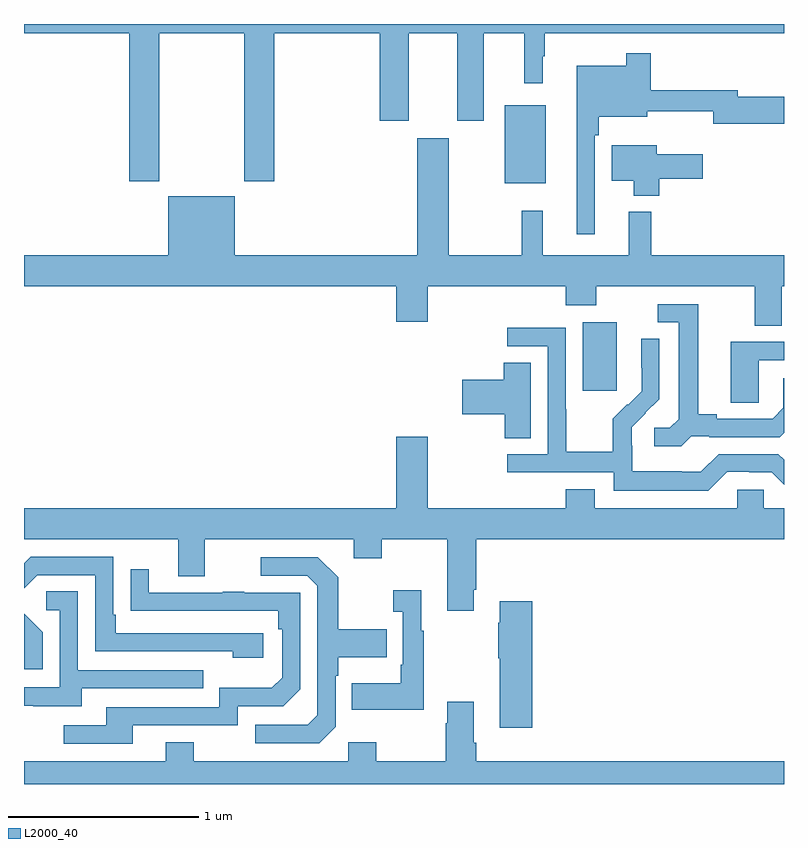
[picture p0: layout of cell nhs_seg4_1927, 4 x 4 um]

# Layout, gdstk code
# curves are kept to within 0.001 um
import gdstk
lib = gdstk.Library(unit=1e-6, precision=1e-09)
def R(c, l, rs):  # rectangles x0, y0, x1, y1
    for r in rs: c.add(gdstk.rectangle(r[:2], r[2:], *l))
def P(c, l, *ps):  # polygons
    for p in ps: c.add(gdstk.Polygon(p, *l))
L2000_40 = (2000, 40)

nhs_seg4_1927 = lib.new_cell('nhs_seg4_1927')
R(nhs_seg4_1927, L2000_40, [(213.941,762.969,214.12,763.33), (213.53,764.063,213.745,764.473)])
P(nhs_seg4_1927, L2000_40, [(211.713,764.852),(212.158,764.852),(212.158,764.073),(212.318,764.073),(212.318,764.852),(212.873,764.852),(212.873,764.391),(213.025,764.391),(213.025,764.852),(213.281,764.852),(213.281,764.391),(213.421,764.391),(213.421,764.852),(213.632,764.852),(213.632,764.589),(213.73,764.589),(213.73,764.729),(213.742,764.729),(213.742,764.852),(215,764.852),(215,764.9),(211,764.9),(211,764.852),(211.553,764.852),(211.553,764.073),(211.713,764.073)],
  [(214.005,764.315),(214.025,764.315),(214.025,764.411),(214.279,764.411),(214.279,764.44),(214.628,764.44),(214.628,764.375),(215,764.375),(215,764.517),(214.756,764.517),(214.756,764.551),(214.298,764.551),(214.298,764.746),(214.17,764.746),(214.17,764.68),(213.908,764.68),(213.908,763.794),(214.005,763.794)],
  [(214.987,763.52),(215,763.52),(215,763.684),(214.301,763.684),(214.301,763.912),(214.184,763.912),(214.184,763.684),(213.731,763.684),(213.731,763.918),(213.621,763.918),(213.621,763.684),(213.235,763.684),(213.235,764.299),(213.071,764.299),(213.071,763.684),(212.11,763.684),(212.11,763.993),(211.76,763.993),(211.76,763.684),(211,763.684),(211,763.52),(212.96,763.52),(212.96,763.332),(213.124,763.332),(213.124,763.52),(213.851,763.52),(213.851,763.421),(214.011,763.421),(214.011,763.52),(214.847,763.52),(214.847,763.312),(214.987,763.312)],
  [(214.343,764.086),(214.573,764.086),(214.573,764.215),(214.33,764.215),(214.33,764.263),(214.094,764.263),(214.094,764.075),(214.208,764.075),(214.208,763.997),(214.343,763.997)],
  [(214.512,762.729),(214.606,762.729),(214.606,762.726),(214.978,762.726),(215,762.748),(215,763.036),(214.997,763.036),(214.997,762.879),(214.94,762.822),(214.645,762.822),(214.645,762.845),(214.549,762.845),(214.549,763.425),(214.335,763.425),(214.335,763.329),(214.445,763.329),(214.445,762.821),(214.398,762.774),(214.317,762.774),(214.317,762.677),(214.46,762.677)],
  [(214.701,762.543),(214.817,762.543),(214.817,762.54),(214.935,762.54),(215,762.475),(215,762.607),(214.971,762.636),(214.656,762.636),(214.563,762.543),(214.463,762.543),(214.463,762.547),(214.2,762.547),(214.2,762.681),(214.198,762.681),(214.198,762.778),(214.344,762.926),(214.344,763.244),(214.248,763.244),(214.248,763.09),(214.25,763.09),(214.25,762.968),(214.179,762.897),(214.176,762.9),(214.099,762.823),(214.099,762.649),(213.855,762.649),(213.855,762.872),(213.852,762.872),(213.852,763.302),(213.543,763.302),(213.543,763.203),(213.756,763.203),(213.756,762.636),(213.543,762.636),(213.543,762.54),(214.104,762.54),(214.104,762.443),(214.601,762.443)],
  [(214.866,763.131),(215,763.131),(215,763.227),(214.721,763.227),(214.721,762.907),(214.866,762.907)],
  [(213.667,763.118),(213.524,763.118),(213.524,763.028),(213.306,763.028),(213.306,762.845),(213.529,762.845),(213.529,762.721),(213.667,762.721)],
  [(213.367,761.923),(213.38,761.923),(213.38,762.188),(215,762.188),(215,762.352),(214.893,762.352),(214.893,762.45),(214.755,762.45),(214.755,762.352),(214.003,762.352),(214.003,762.451),(213.851,762.451),(213.851,762.352),(213.124,762.352),(213.124,762.727),(212.96,762.727),(212.96,762.352),(211,762.352),(211,762.188),(211.811,762.188),(211.811,761.994),(211.951,761.994),(211.951,762.188),(212.735,762.188),(212.735,762.089),(212.883,762.089),(212.883,762.188),(213.227,762.188),(213.227,761.811),(213.367,761.811)],
  [(212.26,761.694),(211.483,761.694),(211.483,761.791),(211.47,761.791),(211.47,762.096),(211.035,762.096),(211,762.061),(211,761.929),(211.071,762),(211.374,762),(211.374,761.598),(212.099,761.598),(212.099,761.564),(212.26,761.564)],
  [(212.64,761.202),(212.64,761.471),(212.653,761.471),(212.653,761.567),(212.909,761.567),(212.909,761.715),(212.653,761.715),(212.653,761.987),(212.547,762.093),(212.247,762.093),(212.247,761.997),(212.49,761.997),(212.544,761.943),(212.544,761.262),(212.493,761.211),(212.217,761.211),(212.217,761.115),(212.553,761.115)],
  [(211.573,761.208),(212.124,761.208),(212.124,761.31),(212.364,761.31),(212.454,761.4),(212.454,761.907),(212.159,761.907),(212.159,761.912),(212.047,761.912),(212.047,761.907),(211.657,761.907),(211.657,762.031),(211.561,762.031),(211.561,761.812),(212.338,761.811),(212.338,761.714),(212.358,761.714),(212.358,761.46),(212.305,761.407),(212.028,761.407),(212.028,761.304),(211.433,761.304),(211.433,761.208),(211.209,761.208),(211.209,761.112),(211.573,761.112)],
  [(213.103,761.707),(213.091,761.707),(213.091,761.92),(212.943,761.92),(212.943,761.807),(212.994,761.807),(212.994,761.527),(212.982,761.527),(212.982,761.431),(212.725,761.431),(212.725,761.291),(213.103,761.291)],
  [(211.303,761.403),(211.943,761.403),(211.943,761.499),(211.284,761.499),(211.284,761.915),(211.116,761.915),(211.116,761.814),(211.188,761.814),(211.188,761.409),(211,761.409),(211,761.313),(211.049,761.313),(211.049,761.309),(211.303,761.309)],
  [(213.676,761.863),(213.503,761.863),(213.503,761.75),(213.496,761.75),(213.496,761.561),(213.503,761.561),(213.503,761.196),(213.676,761.196)],
  [(211.098,761.698),(211,761.796),(211,761.662),(211.001,761.661),(211.001,761.505),(211.098,761.505)],
  [(213.367,761.116),(213.367,761.332),(213.227,761.332),(213.227,761.219),(213.22,761.219),(213.22,761.02),(212.853,761.02),(212.853,761.119),(212.706,761.119),(212.706,761.02),(211.893,761.02),(211.893,761.119),(211.745,761.119),(211.745,761.02),(211,761.02),(211,760.9),(215,760.9),(215,761.02),(213.38,761.02),(213.38,761.116)])

lib.write_gds('nhs_seg4_1927.gds')
